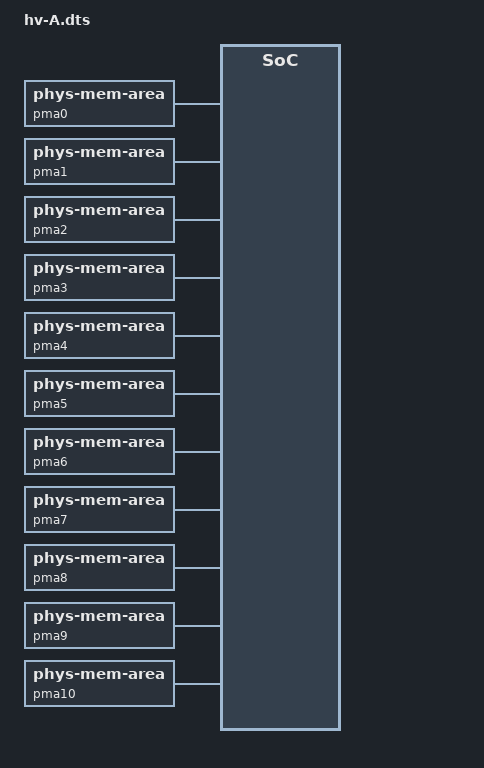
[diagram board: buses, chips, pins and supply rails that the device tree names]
/*
 * Copyright (C) 2012 Freescale Semiconductor, Inc.
 *
 * Redistribution and use in source and binary forms, with or without
 * modification, are permitted provided that the following conditions
 * are met:
 * 1. Redistributions of source code must retain the above copyright
 *    notice, this list of conditions and the following disclaimer.
 * 2. Redistributions in binary form must reproduce the above copyright
 *    notice, this list of conditions and the following disclaimer in the
 *    documentation and/or other materials provided with the distribution.
 *
 * THIS SOFTWARE IS PROVIDED BY THE AUTHOR "AS IS" AND ANY EXPRESS OR
 * IMPLIED WARRANTIES, INCLUDING, BUT NOT LIMITED TO, THE IMPLIED WARRANTIES
 * OF MERCHANTABILITY AND FITNESS FOR A PARTICULAR PURPOSE ARE DISCLAIMED.  IN
 * NO EVENT SHALL THE AUTHOR BE LIABLE FOR ANY DIRECT, INDIRECT, INCIDENTAL,
 * SPECIAL, EXEMPLARY, OR CONSEQUENTIAL DAMAGES (INCLUDING, BUT NOT LIMITED
 * TO, PROCUREMENT OF SUBSTITUTE GOODS OR SERVICES; LOSS OF USE, DATA, OR
 * PROFITS; OR BUSINESS INTERRUPTION) HOWEVER CAUSED AND ON ANY THEORY OF
 * LIABILITY, WHETHER IN CONTRACT, STRICT LIABILITY, OR TORT (INCLUDING
 * NEGLIGENCE OR OTHERWISE) ARISING IN ANY WAY OUT OF THE USE OF THIS
 * SOFTWARE, EVEN IF ADVISED OF THE POSSIBILITY OF SUCH DAMAGE.
 */

/dts-v1/;

/ {
	compatible = "fsl,hv-config";

	// =====================================================
	// Physical Memory Areas
	// =====================================================
	pma0:pma0 {
		compatible = "phys-mem-area";
		addr = <0x0 0x00000000>;
		size = <0x0 0x20000000>;  // 512MB
	};
	pma1:pma1 {
		compatible = "phys-mem-area";
		addr = <0x0 0x20000000>;
		size = <0x0 0x2000000>;  // 32MB
	};
	pma2:pma2 {
		compatible = "phys-mem-area";
		addr = <0x0 0x22000000>;
		size = <0x0 0x2000000>;  // 32MB
	};
	pma3:pma3 {
		compatible = "phys-mem-area";
		addr = <0x0 0x24000000>;
		size = <0x0 0x2000000>;  // 32MB
	};
	pma4:pma4 {
		compatible = "phys-mem-area";
		addr = <0x0 0x26000000>;
		size = <0x0 0x2000000>;  // 32MB
	};
	pma5:pma5 {
		compatible = "phys-mem-area";
		addr = <0x0 0x28000000>;
		size = <0x0 0x2000000>;  // 32MB
	};
	pma6:pma6 {
		compatible = "phys-mem-area";
		addr = <0x0 0x2a000000>;
		size = <0x0 0x2000000>;  // 32MB
	};
	pma7:pma7 {
		compatible = "phys-mem-area";
		addr = <0x0 0x2c000000>;
		size = <0x0 0x2000000>;  // 32MB
	};
	pma8:pma8 {
		compatible = "phys-mem-area";
		addr = <0x0 0x2e000000>;
		size = <0x0 0x2000000>;  // 32MB
	};
	pma9:pma9 {
		compatible = "phys-mem-area";
		addr = <0x0 0x30000000>;
		size = <0x0 0x4000000>;  // 64MB
	};
	pma10:pma10 {
		compatible = "phys-mem-area";
		addr = <0x0 0x34000000>;
		size = <0x0 0x4000000>;  // 64MB
	};

	// =====================================================
	// Hypervisor Config
	// =====================================================
	hv:hypervisor-config {
		compatible = "hv-config";
		stdout = <&hvbc>;

		hvbc: byte-channel {
			compatible = "byte-channel";
			endpoint = <&uartmux>;
			mux-channel = <0>;
		};

		hv-memory {
			compatible = "hv-memory";
			phys-mem = <&pma0>;
		};

		serial0:serial0 {
			device = "serial0";
		};

		mpic {
			device = "/soc/pic";
		};

		cpc {
			device = "/soc/l3-cache-controller";
		};

		corenet-law {
			device = "/soc/corenet-law";
		};

		corenet-cf {
			device = "/soc/corenet-cf";
		};

		guts {
			device = "/soc/global-utilities@e0000";
		};
	};

	uartmux: uartmux {
		compatible = "byte-channel-mux";
		endpoint = <&serial0>;
	};

	// =====================================================
	// Partition 1
	// =====================================================
	part1 {
		compatible = "partition";
		label = "lrat-test";
		cpus = <0 1 2 1>;
		guest-image = <0xf 0xe8a00000 0 0 0 0x200000>;
		dtb-window = <0 0x01000000 0 0x10000>;

		direct-guest-tlb-management;
		direct-guest-tlb-miss;

		bc: bc {
			compatible = "byte-channel";
			endpoint = <&uartmux>;
			mux-channel = <1>;
		};

		gpma0 {
			compatible = "guest-phys-mem-area";
			phys-mem = <&pma1>;
			guest-addr = <0 0>;
		};
		gpma1 {
			compatible = "guest-phys-mem-area";
			phys-mem = <&pma2>;
			guest-addr = <0 0x2000000>;
			node-update {
				prepend-stringlist = "compatible", "fsl,lrat-test";
			};
		};
		gpma2 {
			compatible = "guest-phys-mem-area";
			phys-mem = <&pma3>;
			guest-addr = <0 0x4000000>;
			node-update {
				prepend-stringlist = "compatible", "fsl,lrat-test";
			};

		};
		gpma3 {
			compatible = "guest-phys-mem-area";
			phys-mem = <&pma4>;
			guest-addr = <0 0x6000000>;
			node-update {
				prepend-stringlist = "compatible", "fsl,lrat-test";
			};

		};
		gpma4 {
			compatible = "guest-phys-mem-area";
			phys-mem = <&pma5>;
			guest-addr = <0 0x8000000>;
			node-update {
				prepend-stringlist = "compatible", "fsl,lrat-test";
			};

		};
		gpma5 {
			compatible = "guest-phys-mem-area";
			phys-mem = <&pma6>;
			guest-addr = <0 0xa000000>;
			node-update {
				prepend-stringlist = "compatible", "fsl,lrat-test";
			};

		};
		gpma6 {
			compatible = "guest-phys-mem-area";
			phys-mem = <&pma7>;
			guest-addr = <0 0xc000000>;
			node-update {
				prepend-stringlist = "compatible", "fsl,lrat-test";
			};

		};
		gpma7 {
			compatible = "guest-phys-mem-area";
			phys-mem = <&pma8>;
			guest-addr = <0 0xe000000>;
			node-update {
				prepend-stringlist = "compatible", "fsl,lrat-test";
			};

		};
		gpma8 {
			compatible = "guest-phys-mem-area";
			phys-mem = <&pma9>;
			guest-addr = <0 0x10000000>;
			node-update {
				prepend-stringlist = "compatible", "fsl,lrat-test";
			};

		};
		gpma9 {
			compatible = "guest-phys-mem-area";
			phys-mem = <&pma10>;
			guest-addr = <0 0x14000000>;
			node-update {
				prepend-stringlist = "compatible", "fsl,lrat-test";
			};

		};

		aliases {
			stdout = <&bc>;
		};

	};
};
